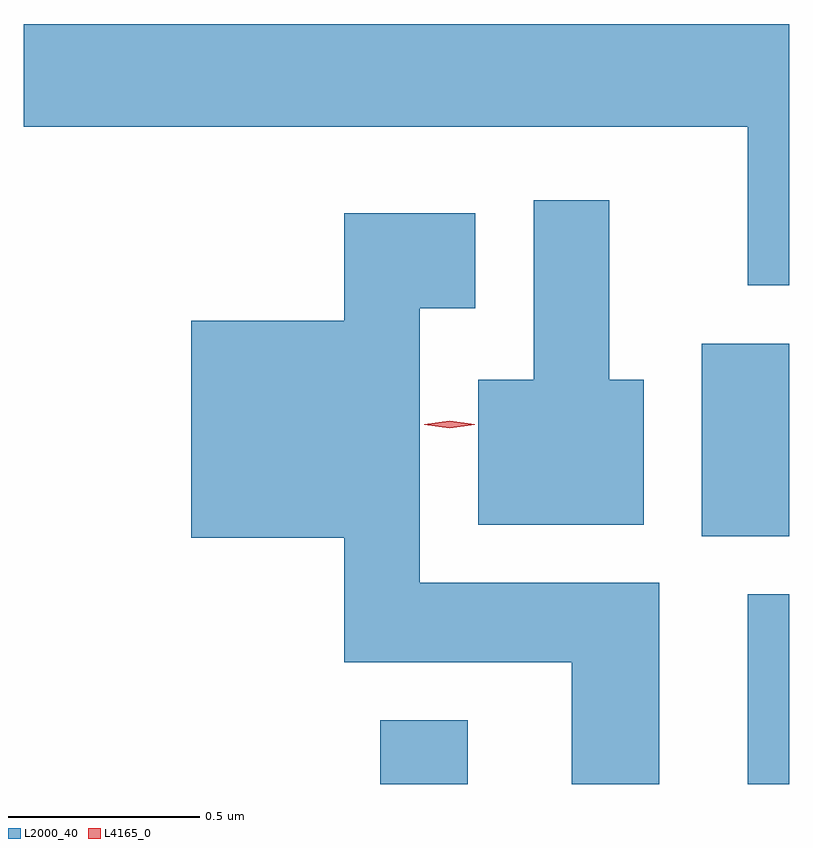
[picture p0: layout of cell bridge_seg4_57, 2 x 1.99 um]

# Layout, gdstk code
import gdstk
lib = gdstk.Library(unit=1e-6, precision=1e-09)
def R(c, l, rs):  # rectangles x0, y0, x1, y1
    for r in rs: c.add(gdstk.rectangle(r[:2], r[2:], *l))
def P(c, l, *ps):  # polygons
    for p in ps: c.add(gdstk.Polygon(p, *l))
L2000_40 = (2000, 40)
L4165_0 = (4165, 0)

bridge_seg4_57 = lib.new_cell('bridge_seg4_57')
R(bridge_seg4_57, L2000_40, [(1303.561,1368.498,1303.789,1368.664), (1304.521,1368.498,1304.629,1368.994), (1304.401,1369.146,1304.629,1369.649)])
P(bridge_seg4_57, L2000_40, [(1304.629,1370.484),(1302.629,1370.484),(1302.629,1370.216),(1304.521,1370.216),(1304.521,1369.801),(1304.629,1369.801)],
  [(1304.249,1369.554),(1304.159,1369.554),(1304.159,1370.024),(1303.961,1370.024),(1303.961,1369.554),(1303.816,1369.554),(1303.816,1369.176),(1304.249,1369.176)],
  [(1304.289,1369.024),(1303.664,1369.024),(1303.664,1369.741),(1303.809,1369.741),(1303.809,1369.989),(1303.466,1369.989),(1303.466,1369.709),(1303.066,1369.709),(1303.066,1369.141),(1303.466,1369.141),(1303.466,1368.816),(1304.061,1368.816),(1304.061,1368.498),(1304.289,1368.498)])
P(bridge_seg4_57, L4165_0, [(1303.742,1369.427),(1303.676,1369.437),(1303.676,1369.437),(1303.676,1369.438),(1303.742,1369.447),(1303.808,1369.438),(1303.808,1369.437),(1303.808,1369.437)])

lib.write_gds('bridge_seg4_57.gds')
